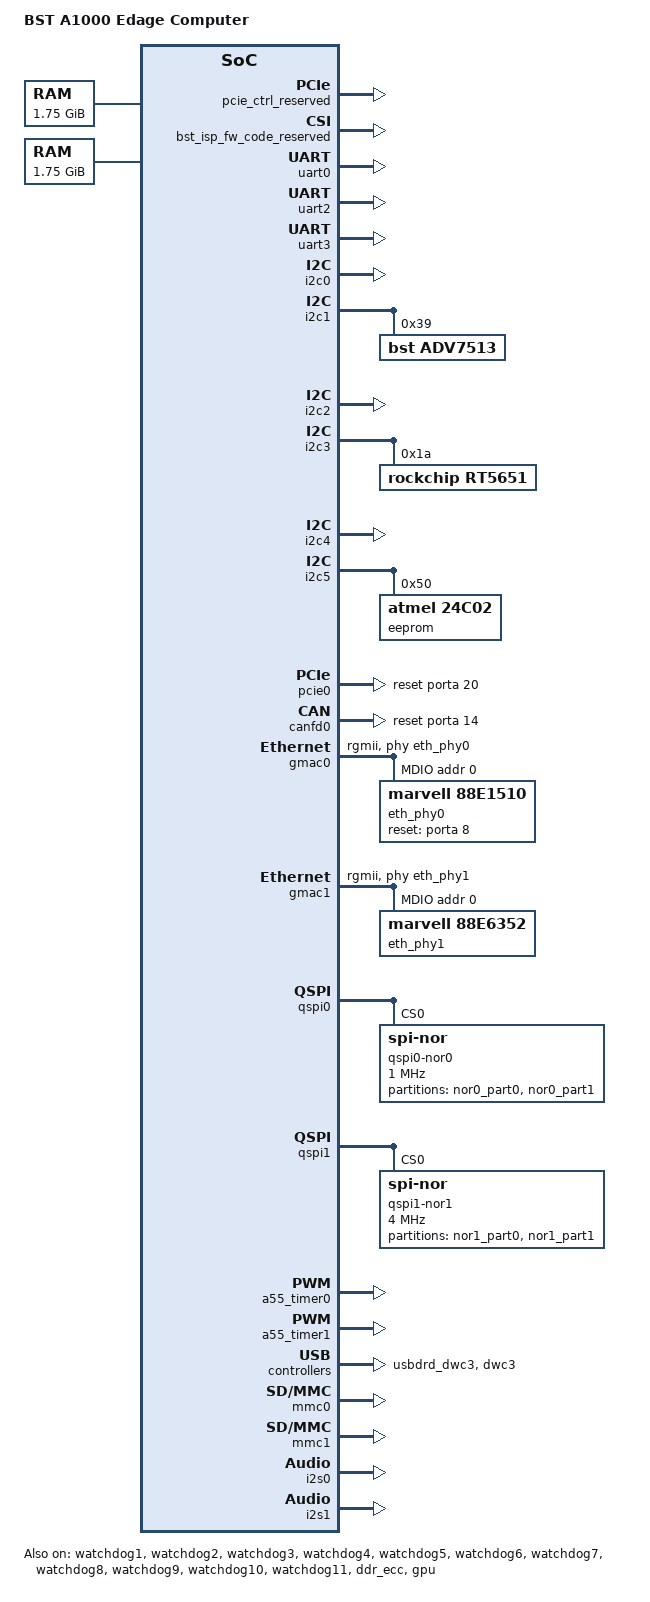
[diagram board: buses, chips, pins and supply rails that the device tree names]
/dts-v1/;

/memreserve/ 0x18000000 0x100000;

#include "bsta1000.dtsi"
#include "isp/ec/ec-configs.dtsi"

/ {
	compatible = "bst,a1000";
	model = "BST A1000 Edage Computer";

	chosen {
		bootargs = "earlycon=uart8250,mmio32,0x20008000 console=ttyS0,115200n8 memreserve=64M@0xf8000000 rdinit=/sbin/init root=/dev/ram rw init=/linuxrc rodata=n";
		stdout-path = "uart0";
	};

	aliases {
		//serial0 = "/amba_apu@0/serial@20008000";
	};
	
	memory@80000000 {
		device_type = "memory";
		reg = <0x00000000 0x80000000 0x00000000 0x70000000>;
	};
	memory@180000000 {
		device_type = "memory";
		reg = <0x00000001 0x80000000 0x00000000 0x70000000>;
	};

    memory1@18000000 {
        device_type = "memory";
        reg = <0x0 0x18000000 0x0 0x100000>;
    };

	reserved-memory {
		#address-cells = <2>;
		#size-cells = <2>;
		ranges;

		pcie_ctrl_reserved: pcie_ctrl@8fd00000 {
			compatible = "bst,pcie-ctrl";
			reg = <0x0 0x8fd00000 0x0 0x100000>;
			no-map;
		};

		bst_tee_reserved: bst_tee@8fec0000 {
			compatible = "shared-dma-pool";
			reg = <0x0 0x8fec0000 0x0 0x40000>;
			no-map;
		};

		bst_ipc_reserved: bstn_cma@8ff00000 {
			compatible = "shared-dma-pool";
			reg = <0x0 0x8ff00000 0x0 0x100000>;
			no-map;
		};

		bstn_firmware_reserved: bstn@90000000 {
			compatible = "bst,bstn";
			reg = <0x0 0x90000000 0x0 0x2000000>;
			no-map;
		};

		bst_lwnn_dsp0_firmware_reserved: bst_lwnn@92000000 {
			compatible = "bst,bst_lwnn";
			reg = <0x0 0x92000000 0x0 0x2000000>;
			no-map;
		};

		bst_lwnn_dsp1_firmware_reserved: bst_lwnn@94000000 {
			compatible = "bst,bst_lwnn";
			reg = <0x0 0x94000000 0x0 0x2000000>;
			no-map;
		};

		bst_cv_firmware_reserved: bst_cv@96000000 {
			compatible = "bst,bst_cv";
			reg = <0x0 0x96000000 0x0 0x4000000>;
			no-map;
		};

		bst_cv_reserved: bst_cv_cma@9a000000 {
			compatible = "shared-dma-pool";
			reg = <0x0 0x9a000000 0x0 0x2000000>;
			align-shift = <8>;
			no-map;
		};

		/* reserved for vsp fw code */
		bst_vsp_fw_code_reserved: vsp@0x9c000000 {
			compatible = "shared-dma-pool";
			reg = <0x0 0x9c000000 0x0 0x1000000>;
			no-map;
		};

		/* reserved for vsp fw data */
		vsp_fw_data_reserved: vsp_fw@0x9d000000 {
			reg = <0x0 0x9d000000 0x0 0x4000000>;
			no-map;
		};

		/* reserved for isp fw code */
		bst_isp_fw_code_reserved: bst_isp@0xa1000000 {
			compatible = "shared-dma-pool";
			reg = <0x0 0xa1000000 0x0 0x1000000>;
			no-map;
		};

		/* reserved for isp fw data */
		isp_fw_data_reserved: bst_isp_fw@0xa2000000 {
			reg = <0x0 0xa2000000 0x0 0x10000000>;
			no-map;
		};

		/* coreip public memory pool */
		coreip_reserved: coreip_pub_cma@0xb2000000 {
			compatible = "shared-dma-pool";
			reg = <0x0 0xb2000000 0x0 0x36000000>;
			reusable;
		};

		/* reserved for pmu noc */
		pmu_noc_reserved: pmu_noc@0xe8000000 {
			reg = <0x0 0xe8000000 0x0 0x800000>;
			no-map;
		};

		/* reserved for ddr0 high 256M */
		bst_ddr0_reserved: ddr0@0xf0000000 {
			reg = <0x0 0xf0000000 0x0 0x10000000>;
			no-map;
		};

		/* reserved for ddr1 high 256M */
		bst_ddr1_reserved: ddr1@0x1f0000000 {
			reg = <0x1 0xf0000000 0x0 0x10000000>;
			no-map;
		};
	};

    //ipc
    mbox-poll-clients{
        compatible = "bst,ipc-mbox-client";
        reg = <0xfec00020 0x8>,     // dsp
            <0x52030090 0x8> ,      // ISP
            <0x53090008 0x8>,       // VSP
            <0xfec00028 0x8>;       // R5 core0

        #mbox-cells = <0x1>;
        phandle = <0xe>;
    };
    bstn-mbox {
        compatible = "bstn,bstn-mbox";
        // zcu102+vu440
        reg =   <0x0 0x33102000 0x0 0x2000>,
                      <0x0 0x33100000 0x0 0x2000>,
                      <0x0 0x80000000 0x0 0x4>,
                      <0x0 0x80002000 0x0 0x4>;
        fpga-reset = <1>;
		memory-region = <&bst_ipc_reserved>;
        // id = <0x0>;
        assigned-mem-size = <0x1000>;
    	interrupt-parent = <&gic400>;
    	interrupts =	<
						GIC_SPI 113 (GIC_CPU_MASK_SIMPLE(8) | IRQ_TYPE_LEVEL_HIGH)
						GIC_SPI 114 (GIC_CPU_MASK_SIMPLE(8) | IRQ_TYPE_LEVEL_HIGH)
						GIC_SPI 115 (GIC_CPU_MASK_SIMPLE(8) | IRQ_TYPE_LEVEL_HIGH)
						GIC_SPI 116 (GIC_CPU_MASK_SIMPLE(8) | IRQ_TYPE_LEVEL_HIGH)
						GIC_SPI 117 (GIC_CPU_MASK_SIMPLE(8) | IRQ_TYPE_LEVEL_HIGH)
						GIC_SPI 118 (GIC_CPU_MASK_SIMPLE(8) | IRQ_TYPE_LEVEL_HIGH)
						GIC_SPI 119 (GIC_CPU_MASK_SIMPLE(8) | IRQ_TYPE_LEVEL_HIGH)
						GIC_SPI 120 (GIC_CPU_MASK_SIMPLE(8) | IRQ_TYPE_LEVEL_HIGH)>;

        #mbox-cells = <0x1>;
        phandle = <0xea>;
    };
    
    bstn@0 {
        #address-cells = <0x2>;
        #size-cells = <0x2>;
        compatible = "bst,bstn,cma";
        reg = <0x0 0x50020000 0x0 0x100
            0x0 0x90000000 0x0 0x2000000>;
        memory-region = <&coreip_reserved>;
        //the following two properties must be consistent with bstn_reserved
        rmem-base = <0x0 0xb2000000>;
        rmem-size = <0x0 0x36000000>;
        id = <0x0>;
        assigned-mem-size = <0x1000>;
        bus-offset = <0x0 0x0>;
        mbox-names = "bstn-mbox";
        mboxes = <0xea 0x8>;
        firmware = "bstn_dsp_rt.rbf";
    };

    bst_cv@0x51030000 {
        #address-cells = <0x2>;
        #size-cells = <0x2>;
        compatible = "bst,bst_cv,cma";
        reg =   <0x0 0x51030000 0x0 0x100
                0x0 0x96000000 0x0 0x2000000
                0x0 0x98000000 0x0 0x2000000
                0x0 0x92000000 0x0 0x2000000
                0x0 0x94000000 0x0 0x2000000>;
        memory-region = <&bst_cv_reserved>;
        assigned-mem-size = <0x4000>;
        //the offset between the DDR physical address and the corresponding device bus address
        bus-offset = <0x0 0x0>;
        mbox-names = "bstn-mbox";
        mboxes = <0xea 0x9>;
        dsp-num = <0x4>;
        ipc-register-addr = <0x8ff00000>;
        dsp@0x96000000 {
            index = <0x0>;
            firmware = "bst_cv_dsp_rt.rbf";
            assigned-mem-size = <0x1000>;
            rt-init-addr = <0x967ff000>;
            //ipc source ARM core index of the CV driver
            ipc-src-core = <0x3>;
        };
        dsp@0x98000000 {
            index = <0x1>;
            firmware = "bst_cv_dsp1_rt.rbf";
            assigned-mem-size = <0x1000>;
            rt-init-addr = <0x987ff000>;
            //ipc source ARM core index of the CV driver
            ipc-src-core = <0x3>;
        };
        dsp@0x92000000 {
            index = <0x2>;
            firmware = "bst_cv_dsp2_rt.rbf";
            assigned-mem-size = <0x1000>;
            rt-init-addr = <0x927ff000>;
            //ipc source ARM core index of the CV driver
            ipc-src-core = <0x3>;
        };
        dsp@0x94000000 {
            index = <0x3>;
            firmware = "bst_cv_dsp3_rt.rbf";
            assigned-mem-size = <0x1000>;
            rt-init-addr = <0x947ff000>;
            //ipc source ARM core index of the CV driver
            ipc-src-core = <0x3>;
        };
    };

    bare_cv@51030000 {
        #address-cells = <0x2>;
        #size-cells = <0x2>;
        compatible = "bst,bare_cv,cma";
        reg =   <0x0 0x51030000 0x0 0x100
                0x0 0x98000000 0x0 0x1000000
                0x0 0x99000000 0x0 0x1000000
                0x0 0x9a000000 0x0 0x1000000
                0x0 0x9b000000 0x0 0x1000000
                >;
        memory-region = <&bst_cv_reserved>;
        id = <0x1>;
        assigned-mem-size = <0x2000000 0x2000000 0x2000000 0x2000000>;
        bus-offset = <0x0 0x0>;
        mbox-names = "bstn-mbox";
        mboxes = <0xea 0x9>;
        firmware = "bstcv0.rbf", "bstcv1.rbf", "bstcv2.rbf", "bstcv3.rbf";
    }; 

    bst_lwnn@0x51030000 {
        compatible = "bst,bst_lwnn,cma";
        reg =   <0x0 0x51030000 0x0 0x100
                0x0 0x92000000 0x0 0x2000000
                0x0 0x94000000 0x0 0x2000000>;
        memory-region = <&coreip_reserved>;
        //the offset between the DDR physical address and the corresponding device bus address
        bus-offset = <0x0 0x0>;
        mbox-names = "bst-lwnn-mbox";

        dsp-num = <0x2>;
        ipc-register-addr = <0x8ff00000>;
        dsp@0x92000000 {
            index = <0x2>;
            firmware = "bst_lwnn_dsp2_rt.rbf";
            assigned-mem-size = <0x2000>;
            rt-init-addr = <0x927ff000>;
            //ipc source ARM core index of the LWNN driver
            ipc-src-core = <0x6>;
        };
        dsp@0x94000000 {
            index = <0x3>;
            firmware = "bst_lwnn_dsp3_rt.rbf";
            assigned-mem-size = <0x2000>;
            rt-init-addr = <0x947ff000>;
            //ipc source ARM core index of the LWNN driver
            ipc-src-core = <0x0>;
        };
    };

	ipc_vsp@0 {
		#address-cells = <0x2>;
		#size-cells = <0x2>;
		compatible = "bst,bst-vsp-ipc";
		reg = <0x0 0x9c000000 0x0 0x100000
				0x0 0x9c100000 0x0 0x80000
				0x0 0x9c180000 0x0 0x80000
				0x0 0x53090004 0x0 0x4
				0x0 0x53090010 0x0 0xc
				0x0 0x33102fbc 0x0 0x4
				0x0 0x9d000000 0x0 0x4000000>;
		memory-region = <&bst_vsp_fw_code_reserved>;
		mbox-names = "bstn-mbox"; // need
		mboxes = <0xea 0x7>;
		slab = "vsp_slab.bin-yuv";
	};

	vsp@1 {
		#address-cells = <0x2>;
		#size-cells = <0x2>;
		compatible = "bst,bst-vsp";
		memory-region = <&coreip_reserved>;
		id = <0x0>;
		size = <1080>; //1080:1080p, 720:720p
		pclk_freq = <148500>; //KHz
		assigned-mem-size = <0x1000>;
	};

	gmwarp@0 {
		#address-cells = <0x2>;
		#size-cells = <0x2>;
		compatible = "bst,bst-gmwarp";
		memory-region = <&coreip_reserved>;
	};

    tee {
        #address-cells = <0x2>;
        #size-cells = <0x2>;
        reg = <0x0 0x18060000 0x0 0x20000>;
        memory-region = <&bst_tee_reserved>;
        mbox-names = "bstn-mbox";
        chip-number = <1>;
    };
    
    ipc_arm0@0 {
        #address-cells = <0x2>;
        #size-cells = <0x2>;
        compatible = "bst,arm0";
       reg = <0x4 0xfec00000 0x0 0x20 0x4 0x80000000 0x0 0x20000>;
       memory-region = <&bst_ipc_reserved>;
        //id = <0x0>;
        //ipc-resource-id = <0>;   // ipc add, refer to mbox-poll-clients :reg <0>
       assigned-mem-size = <0x1000>;
       // bstn-offset = <0x4 0x0>;
        mbox-names = "bstn-mbox";
        mboxes = <0xea 0x0>;
    };

    ipc_arm3@3 {
        #address-cells = <0x2>;
        #size-cells = <0x2>;
        compatible = "bst,arm3";
       reg = <0x4 0xfec10000 0x0 0x20 0x4 0x80000000 0x0 0x20000>;
        memory-region = <&bst_ipc_reserved>;
       // id = <0x1>;
        //ipc-resource-id = <0>;   // ipc add, refer to mbox-poll-clients :reg <0>
        assigned-mem-size = <0x1000>;
        //bstn-offset = <0x4 0x0>;
        mbox-names = "bstn-mbox";
        mboxes = <0xea 0x3>;
    };

    ipc_arm2@2 {
        #address-cells = <0x2>;
        #size-cells = <0x2>;
        compatible = "bst,arm2";
       reg = <0x4 0xfec10000 0x0 0x20 0x4 0x80000000 0x0 0x20000>;
        memory-region = <&bst_ipc_reserved>;
       // id = <0x1>;
        //ipc-resource-id = <0>;   // ipc add, refer to mbox-poll-clients :reg <0>
        assigned-mem-size = <0x1000>;
        //bstn-offset = <0x4 0x0>;
        mbox-names = "bstn-mbox";
        mboxes = <0xea 0x2>;
    };

    ipc_arm1@1 {
        #address-cells = <0x2>;
        #size-cells = <0x2>;
        compatible = "bst,arm1";
        reg = <0x4 0xfec10000 0x0 0x20 0x4 0x80000000 0x0 0x20000>;
        memory-region = <&bst_ipc_reserved>;
       //id = <0x1>;
        //ipc-resource-id = <0>;   // ipc add, refer to mbox-poll-clients :reg <0>
        assigned-mem-size = <0x1000>;
       // bstn-offset = <0x4 0x0>;
        mbox-names = "bstn-mbox";
        mboxes = <0xea 0x1>;
    };
    ipc@0 {
        #address-cells = <0x2>;
        #size-cells = <0x2>;
        compatible = "bst,ipc";
        reg = <0x4 0xfec00000 0x0 0x20 0x4 0x80000000 0x0 0x20000>;
        memory-region = <&bst_ipc_reserved>;
       // id = <0x0>;
        assigned-mem-size = <0x1000>;
       // bstipc-offset = <0x4 0x0>;
        mbox-names = "bstn-mbox";
        mboxes = <0xea 0x5>;
       //firmware = "dsp_rt.rbf";
    };
};

&pinctrl {
    status = "okay";
};

&uart0 {
    status = "okay";
};
&uart1 {
    status = "disable";
};
&uart2 {
    status = "okay";
};
&uart3 {
    status = "okay";
};

&i2c0 {
    status = "okay";
};
&i2c1 {
    status = "okay";
	#address-cells = <1>;
	#size-cells = <0>;

	adv7513@39 {
		compatible = "bst,adv7513";
		reg = <0x39>;
	};
	
    /*hdmi_receiver@4c {
        compatible = "adi,adv7611";
        reg = <0x4c>;
        reg-names = "main", "edid";
        reset-gpios = <&porta 14 1>;
        pinctrl-names = "default";
        default-input = <0>;

        data-type = <0x1e>;
        size = <1920 1080>;
        dvp-dummy = <0xaaa0>; //[15:x]=dummydata [x:0]=0
        view0-fmt = <1>;
        view0-size = <1920 1080>;
        view1-fmt = <1>;
        view1-size = <1280 720>;
        pdns-mode = <0>;
        pdns-input-view = <0>;
        hblank = <0>;

        port {
            hdmi_in: endpoint {
                remote-endpoint = <&hdmi_isp>;
            };
        };
    };*/
};
&i2c2 {
    status = "okay";
};
&i2c3 {
    status = "okay";
    #address-cells = <1>;
    #size-cells = <0>;
    rt5651: rt5651@1a {
		compatible = "rockchip,rt5651";
		reg = <0x1a>;
		#sound-dai-cells = <0>;
   };   
};
&i2c4 {
    status = "okay";
};
&i2c5 {
    status = "okay";
        #address-cells = <1>;
    	#size-cells = <0>;
         eeprom@50 {
                 compatible = "atmel,24c02";
                 reg = <0x50>;
                 pagesize = <16>;
         };
};

&gdma0 {
    status = "okay";
};

&pcie0 {
    status = "okay";
    reset-gpio = <&porta 20 0>; //gpio 20
    perst_ver = <1>;  //1:reset_gpio reverse  0:no reverse
};

&canfd0 {
    status = "okay";
    //memory-region = <&bst_canfd_reserved>;
    pinctrl-1 = <&can1_transceiver_pinctrl>;
    reset-gpios = <&porta 14 0>;
    reset-active-low;
};

&canfd1 {
    status = "disable";
};


&gpio0 {
    status = "okay";

    /* gpio_special_func_pinctrl:gpio_num_29 high level indicate fadb; debug_4 and debug_5 indicate other side normal boot kernel */
    pinctrl-0 = <&gpio0_pinctrl &gpio_special_func_pinctrl>;
};

&gpio1 {
    status = "okay";
};
               

&gmac0 {
    status = "okay";
    phy-mode = "rgmii";
    phy-handle = <&eth_phy0>;
    extend-op = <4>;
    mdio {
        compatible = "snps,dwmac-mdio";
		#address-cells = <1>;
		#size-cells = <0>;
        eth_phy0: eth_phy0@0 {
            compatible = "marvell,88E1510", "ethernet-phy-id0141.0DD1", "ethernet-phy-ieee802.3-c22";
			device_type = "ethernet-phy";
            /* On - Link, Blink - Activity, Off - No Link - Dual LED mode*/
			marvell,reg-init = <3 0x10 0 0x101e>;

			max-speed = <1000>;
			reg = <0x0>;
            reset-gpios = <&porta 8 0>;
	        reset-assert-us = <20000>;
	        reset-deassert-us = <20000>;
		};
    };
};

/*  from ecu */
&gmac1 {
    status = "okay";
    phy-mode = "rgmii";
    phy-handle = <&eth_phy1>;
    extend-op = <4>;
    mdio1 {
        compatible = "snps,dwmac-mdio";
		#address-cells = <1>;
		#size-cells = <0>;
        eth_phy1: eth_phy1@1 {
            compatible = "marvell,88E6352", "ethernet-phy-id0.3520", "ethernet-phy-ieee802.3-c22";
			device_type = "ethernet-phy";
			max-speed = <1000>;
			reg = <0>;
            reset-swpin = <&porta 9 0>;
            reset-active-low;
	        reset-assert-us = <20000>;
	        reset-deassert-us = <20000>;
		};
    };
};


&qspi0 {
    status = "okay";
    //wp_mode;
    qspi0-nor0@0 {
        #address-cells = <1>;
        #size-cells = <1>;
        spi-rx-bus-width = <1>;
        spi-tx-bus-width = <1>;
        compatible = "jedec,spi-nor";
        status = "okay";
        spi-max-frequency = <1000000>;
        reg = <0>;
        mode = <0>;

        partition@0 {
            reg = <0 0x1e00000>;
            label = "nor0_part0";
        };
        partition@1e00000 {
            reg = <0x1e00000 0x200000>;
            label = "nor0_part1";
        };
    };
};

&qspi1 {
    status = "okay";
    qspi1-nor1@0 {
        #address-cells = <1>;
        #size-cells = <1>;
        spi-rx-bus-width = <1>;
        spi-tx-bus-width = <1>;
        compatible = "jedec,spi-nor";
        status = "okay";
        spi-max-frequency = <4000000>;
        reg = <0>;
        mode = <0>;
            
        partition@0 {
            reg = <0 0x1e00000>;
            label = "nor1_part0";
        };
        partition@1e00000 {
            reg = <0x1e00000 0x200000>;
            label = "nor1_part1";
        };
    };
};


&spi0 {
    status = "disable";
    spi0-nor0@0 {
        compatible = "jedec,spi-nor";
        status = "okay";
        reg = <0>;
        spi-max-frequency = <10000000>;
    };
};
&spi1 {
    status = "disable";
    slave@0 {
            compatible = "spidev";
            reg = <0>;
            spi-max-frequency = <400000>;
    };
};

&watchdog0 {
    status = "disable";
};
&watchdog1 {
    status = "okay";
};
&watchdog2 {
    status = "okay";
};
&watchdog3 {
    status = "okay";
};
&watchdog4 {
    status = "okay";
};
&watchdog5 {
    status = "okay";
};
&watchdog6 {
    status = "okay";
};
&watchdog7 {
    status = "okay";
};
&watchdog8 {
    status = "okay";
};
&watchdog9 {
    status = "okay";
};
&watchdog10 {
    status = "okay";
};
&watchdog11 {
    status = "okay";
};

&ddr_ecc {
    status = "okay";
};

&arm_pmu {
    status = "okay";
};

&lsp0_pwm0 {
	/* safety used lsp0-timer-ch0 */
	/* must be disable */
    status = "disable";
};
&lsp0_pwm1 {
    status = "disable";
};
&lsp1_pwm0 {
    status = "disable";
};
&lsp1_pwm1 {
    status = "disable";
};

&a55_timer0 {
    status = "okay";
};
&a55_timer1 {
    status = "okay";
};

&usb3_pinctrl {
    mux {
        pins = "gpio_25";
        function = "gpio";
    };
};

&usbdrd_dwc3 {
    status = "okay";
    powerctl-gpios = <&porta 25 GPIO_ACTIVE_HIGH>;
	pinctrl-names = "default";
	pinctrl-0 = <&usb3_pinctrl>;
};

&dwc3 {
    status = "okay";
};


&mmc0 {
    status = "okay";
};

&mmc1 {
    status = "okay";
};

&i2s0 {
    status = "okay";
};

&i2s1 {
    status = "okay";
};
&thermal {
    status = "okay";
};
&gpu {
    status = "okay";
};
